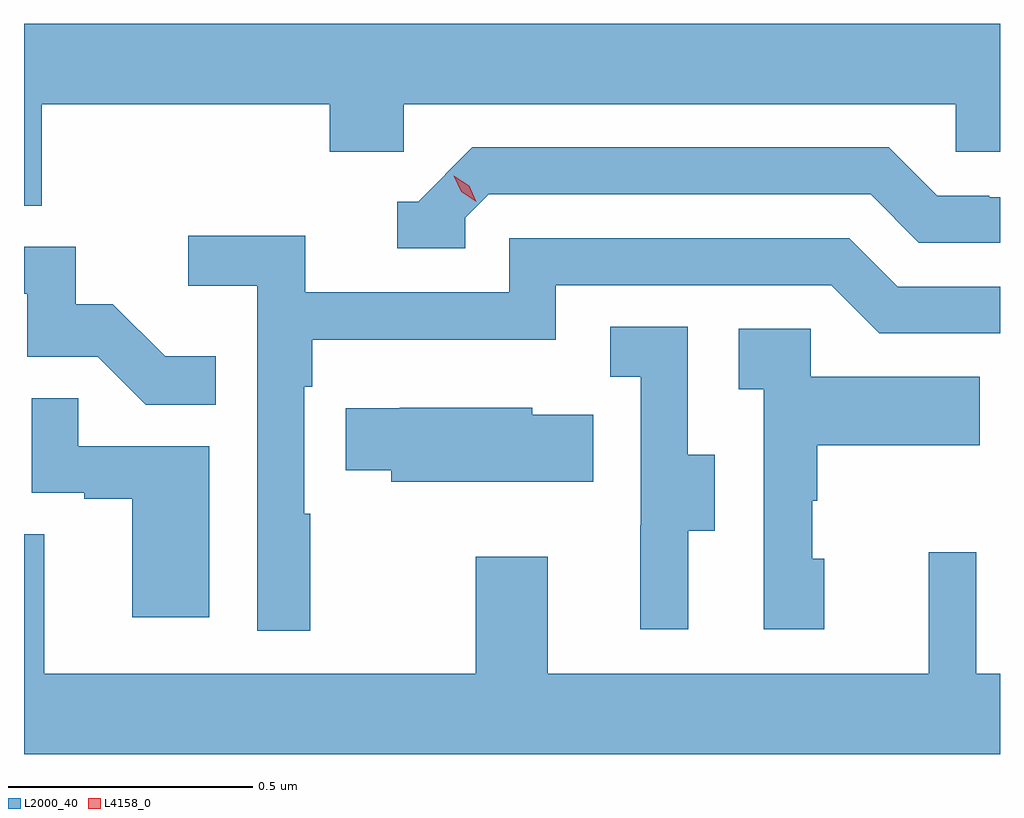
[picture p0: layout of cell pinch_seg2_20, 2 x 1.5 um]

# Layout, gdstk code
import gdstk
lib = gdstk.Library(unit=1e-6, precision=1e-09)
def P(c, l, *ps):  # polygons
    for p in ps: c.add(gdstk.Polygon(p, *l))
L2000_40 = (2000, 40)
L4158_0 = (4158, 0)

pinch_seg2_20 = lib.new_cell('pinch_seg2_20')
P(pinch_seg2_20, L2000_40, [(1097.558,650.3),(1098.149,650.3),(1098.149,650.202),(1098.3,650.202),(1098.3,650.3),(1099.431,650.3),(1099.431,650.202),(1099.522,650.202),(1099.522,650.464),(1097.522,650.464),(1097.522,650.092),(1097.558,650.092)],
  [(1098.426,650.067),(1098.474,650.115),(1099.257,650.115),(1099.356,650.016),(1099.522,650.016),(1099.522,650.109),(1099.5,650.109),(1099.5,650.112),(1099.393,650.112),(1099.294,650.211),(1098.441,650.211),(1098.33,650.1),(1098.287,650.1),(1098.287,650.004),(1098.426,650.004)],
  [(1098.109,649.46),(1098.096,649.46),(1098.096,649.721),(1098.113,649.721),(1098.113,649.817),(1098.612,649.817),(1098.612,649.929),(1099.176,649.929),(1099.275,649.83),(1099.522,649.83),(1099.522,649.926),(1099.312,649.926),(1099.213,650.025),(1098.516,650.025),(1098.516,649.914),(1098.098,649.914),(1098.098,650.03),(1097.859,650.03),(1097.859,649.928),(1098,649.928),(1098,649.221),(1098.109,649.221)],
  [(1097.915,649.783),(1097.811,649.783),(1097.704,649.89),(1097.628,649.89),(1097.628,650.007),(1097.522,650.007),(1097.522,649.911),(1097.529,649.911),(1097.529,649.782),(1097.673,649.782),(1097.771,649.684),(1097.915,649.684)],
  [(1098.883,649.426),(1098.937,649.426),(1098.937,649.581),(1098.882,649.581),(1098.882,649.844),(1098.723,649.844),(1098.723,649.741),(1098.786,649.741),(1098.786,649.437),(1098.785,649.437),(1098.785,649.224),(1098.883,649.224)],
  [(1099.162,649.368),(1099.137,649.368),(1099.137,649.487),(1099.147,649.487),(1099.147,649.601),(1099.481,649.601),(1099.481,649.741),(1099.134,649.741),(1099.134,649.839),(1098.987,649.839),(1098.987,649.715),(1099.038,649.715),(1099.038,649.224),(1099.162,649.224)],
  [(1097.902,649.599),(1097.633,649.599),(1097.633,649.697),(1097.538,649.697),(1097.538,649.503),(1097.645,649.503),(1097.645,649.491),(1097.744,649.491),(1097.744,649.248),(1097.902,649.248)],
  [(1098.689,649.663),(1098.564,649.663),(1098.564,649.678),(1098.292,649.678),(1098.292,649.677),(1098.181,649.677),(1098.181,649.549),(1098.275,649.549),(1098.275,649.526),(1098.689,649.526)],
  [(1099.522,649.132),(1099.473,649.132),(1099.473,649.381),(1099.376,649.381),(1099.376,649.132),(1098.595,649.132),(1098.595,649.372),(1098.448,649.372),(1098.448,649.132),(1097.563,649.132),(1097.563,649.418),(1097.522,649.418),(1097.522,648.968),(1099.522,648.968)])
P(pinch_seg2_20, L4158_0, [(1098.449,650.1),(1098.418,650.12),(1098.403,650.153),(1098.403,650.153),(1098.403,650.153),(1098.434,650.133),(1098.449,650.1),(1098.449,650.1)])

lib.write_gds('pinch_seg2_20.gds')
